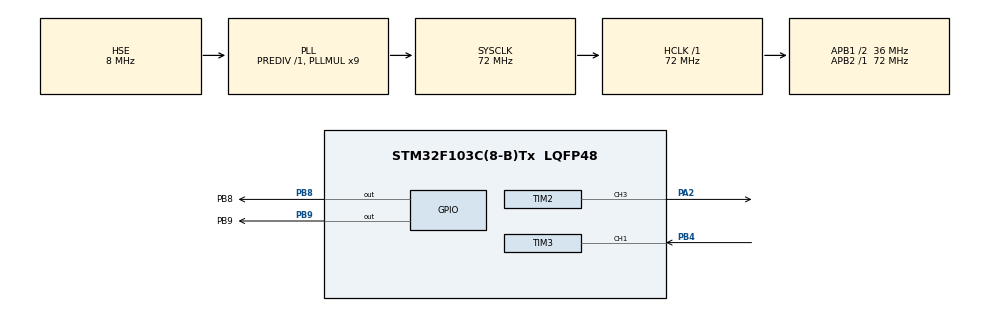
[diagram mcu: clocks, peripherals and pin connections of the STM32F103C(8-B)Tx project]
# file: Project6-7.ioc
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Mcu.Family=STM32F1
Mcu.Name=STM32F103C(8-B)Tx
Mcu.Package=LQFP48
NVIC.PriorityGroup=NVIC_PRIORITYGROUP_4
NVIC.TIM3_IRQn=true\:0\:0\:false\:false\:true\:true\:true\:true
PA13.Mode=Serial_Wire
PA13.Signal=SYS_JTMS-SWDIO
PA14.Mode=Serial_Wire
PA14.Signal=SYS_JTCK-SWCLK
PA2.Signal=S_TIM2_CH3
PB4.Signal=S_TIM3_CH1
PB8.GPIO_Label=PB8
PB8.GPIO_ModeDefaultOutputPP=GPIO_MODE_OUTPUT_OD
PB8.GPIO_PuPd=GPIO_NOPULL
PB8.Signal=GPIO_Output
PB9.GPIO_Label=PB9
PB9.GPIO_ModeDefaultOutputPP=GPIO_MODE_OUTPUT_OD
PB9.GPIO_PuPd=GPIO_NOPULL
PB9.Signal=GPIO_Output
PC14-OSC32_IN.Mode=LSE-External-Oscillator
PC14-OSC32_IN.Signal=RCC_OSC32_IN
PC15-OSC32_OUT.Mode=LSE-External-Oscillator
PC15-OSC32_OUT.Signal=RCC_OSC32_OUT
PD0-OSC_IN.Mode=HSE-External-Oscillator
PD0-OSC_IN.Signal=RCC_OSC_IN
PD1-OSC_OUT.Mode=HSE-External-Oscillator
PD1-OSC_OUT.Signal=RCC_OSC_OUT
ProjectManager.HeapSize=0x200
ProjectManager.StackSize=0x400
ProjectManager.TargetToolchain=MDK-ARM V5.32
RCC.AHBFreq_Value=72000000
RCC.APB1CLKDivider=RCC_HCLK_DIV2
RCC.APB1Freq_Value=36000000
RCC.APB1TimFreq_Value=72000000
RCC.APB2Freq_Value=72000000
RCC.APB2TimFreq_Value=72000000
RCC.HCLKFreq_Value=72000000
RCC.PLLMUL=RCC_PLL_MUL9
RCC.PLLSourceVirtual=RCC_PLLSOURCE_HSE
RCC.SYSCLKFreq_VALUE=72000000
RCC.SYSCLKSource=RCC_SYSCLKSOURCE_PLLCLK
RCC.USBFreq_Value=72000000
SH.S_TIM2_CH3.0=TIM2_CH3,PWM Generation3 CH3
SH.S_TIM3_CH1.0=TIM3_CH1,Input_Capture1_from_TI1
SH.S_TIM3_CH1.1=TIM3_CH1,TriggerSource_TI1FP1
TIM2.AutoReloadPreload=TIM_AUTORELOAD_PRELOAD_ENABLE
TIM2.Channel-PWM\ Generation3\ CH3=TIM_CHANNEL_3
TIM2.Period=100-1
TIM2.Prescaler=720-1
TIM2.Pulse-PWM\ Generation3\ CH3=66
TIM3.AutoReloadPreload=TIM_AUTORELOAD_PRELOAD_ENABLE
TIM3.Channel-Input_Capture1_from_TI1=TIM_CHANNEL_1
TIM3.Channel-Input_Capture2_from_TI1_63=TIM_CHANNEL_2
TIM3.ICPolarity_CH2=TIM_INPUTCHANNELPOLARITY_FALLING
TIM3.Prescaler=72-1
VP_TIM2_VS_ClockSourceINT.Mode=Internal
VP_TIM3_VS_ClockSourceINT.Mode=Internal
VP_TIM3_VS_ControllerModeReset.Mode=Reset Mode
VP_TIM3_VS_indirect_ch1.Mode=Input_Capture2_from_TI1_63
board=custom

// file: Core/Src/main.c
/* USER CODE BEGIN Header */
/**
  ******************************************************************************
  * @file           : main.c
  * @brief          : Main program body
  ******************************************************************************
  * @attention
  *
  * Copyright (c) 2025 STMicroelectronics.
  * All rights reserved.
  *
  * This software is licensed under terms that can be found in the LICENSE file
  * in the root directory of this software component.
  * If no LICENSE file comes with this software, it is provided AS-IS.
  *
  ******************************************************************************
  */
/* USER CODE END Header */
#include "main.h"
#include "tim.h"
#include "gpio.h"

/* USER CODE BEGIN Includes */
#include "OLED.h"
/* USER CODE END Includes */

/* USER CODE BEGIN PV */
int32_t freq;// 当前输入频率
uint32_t duty;// 当前占空比
uint32_t capture;// 周期
// 计算当前输出的频率和占空比
void HAL_TIM_IC_CaptureCallback(TIM_HandleTypeDef*htim)
{
   if(htim->Instance == TIM3)
   {
	 // 上升沿触发中断
     if(htim->Channel == HAL_TIM_ACTIVE_CHANNEL_1)
	 {
	   capture = HAL_TIM_ReadCapturedValue(htim,TIM_CHANNEL_1)+1;
	   freq = 1000000/capture;
	 }
	 // 下降沿触发中断
	 else if(htim->Channel == HAL_TIM_ACTIVE_CHANNEL_2)
	 {
	   uint32_t capture2 = HAL_TIM_ReadCapturedValue(htim,TIM_CHANNEL_2)+1;
	   duty = capture2 * 100/capture;
	 }
   }
}
/* USER CODE END PV */

void SystemClock_Config(void);

int main(void)
{

  /* MCU Configuration--------------------------------------------------------*/

  /* Reset of all peripherals, Initializes the Flash interface and the Systick. */
  HAL_Init();

  /* Configure the system clock */
  SystemClock_Config();

  /* Initialize all configured peripherals */
  MX_GPIO_Init();
  MX_TIM2_Init();
  MX_TIM3_Init();
  /* USER CODE BEGIN 2 */
  // 先在cubemx中配置OLED相关引脚，并且按照之前的工程在工程中添加相关文件
  // 并且用TIM2的CHANNEL3作为输出，生成pwm波
  // 用TIM3的CHANNEL1和CHANNEL2作为输入捕获端，一个去测周期一个去测占空比
  // 即两个通道分别设置成上升沿触发和下降沿触发
  OLED_Init();      //  OLED初始化
  HAL_TIM_PWM_Start(&htim2,TIM_CHANNEL_3);// 打开波形生成
  HAL_TIM_IC_Start_IT(&htim3,TIM_CHANNEL_1);// 打开输入捕获周期
  HAL_TIM_IC_Start_IT(&htim3,TIM_CHANNEL_2);// 打开输入捕获占空比
  OLED_Clear();// 清屏
  OLED_ShowString(1,1,"Freq:000000Hz");// 1行1列显示
  OLED_ShowString(2,1,"Duty:000%");// 2行1列显示
  /* USER CODE END 2 */

  /* Infinite loop */
  /* USER CODE BEGIN WHILE */
  while (1)
  {
	OLED_ShowSignedNum(1,6,freq,5); // 1行6列显示有符号频率，长度为5
	OLED_ShowSignedNum(2,6,duty,2); // 1行6列显示有符号频率，长度为2
    /* USER CODE END WHILE */

  }
}

void SystemClock_Config(void)
{
  RCC_OscInitTypeDef RCC_OscInitStruct = {0};
  RCC_ClkInitTypeDef RCC_ClkInitStruct = {0};

  /** Initializes the RCC Oscillators according to the specified parameters
  * in the RCC_OscInitTypeDef structure.
  */
  RCC_OscInitStruct.OscillatorType = RCC_OSCILLATORTYPE_HSE;
  RCC_OscInitStruct.HSEState = RCC_HSE_ON;
  RCC_OscInitStruct.HSEPredivValue = RCC_HSE_PREDIV_DIV1;
  RCC_OscInitStruct.HSIState = RCC_HSI_ON;
  RCC_OscInitStruct.PLL.PLLState = RCC_PLL_ON;
  RCC_OscInitStruct.PLL.PLLSource = RCC_PLLSOURCE_HSE;
  RCC_OscInitStruct.PLL.PLLMUL = RCC_PLL_MUL9;
  if (HAL_RCC_OscConfig(&RCC_OscInitStruct) != HAL_OK)
  {
    Error_Handler();
  }

  /** Initializes the CPU, AHB and APB buses clocks
  */
  RCC_ClkInitStruct.ClockType = RCC_CLOCKTYPE_HCLK|RCC_CLOCKTYPE_SYSCLK
                              |RCC_CLOCKTYPE_PCLK1|RCC_CLOCKTYPE_PCLK2;
  RCC_ClkInitStruct.SYSCLKSource = RCC_SYSCLKSOURCE_PLLCLK;
  RCC_ClkInitStruct.AHBCLKDivider = RCC_SYSCLK_DIV1;
  RCC_ClkInitStruct.APB1CLKDivider = RCC_HCLK_DIV2;
  RCC_ClkInitStruct.APB2CLKDivider = RCC_HCLK_DIV1;

  if (HAL_RCC_ClockConfig(&RCC_ClkInitStruct, FLASH_LATENCY_2) != HAL_OK)
  {
    Error_Handler();
  }
}

void Error_Handler(void)
{
  __disable_irq();
  while (1)
  {
  }
}
